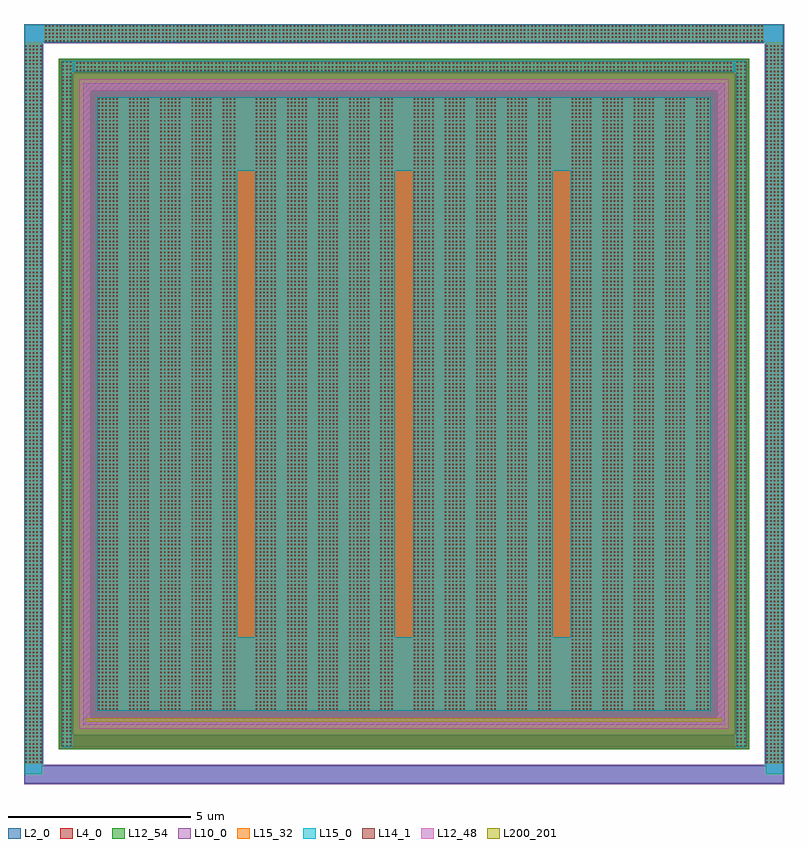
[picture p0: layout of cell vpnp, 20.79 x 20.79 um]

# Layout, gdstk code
import gdstk
lib = gdstk.Library(unit=1e-6, precision=1e-09)
def R(c, l, rs):  # rectangles x0, y0, x1, y1
    for r in rs: c.add(gdstk.rectangle(r[:2], r[2:], *l))
def A(c, l, x, y, w, h, nx, ny, dx, dy):  # array of equal rectangles
    R(c, l, [(x+i*dx, y+j*dy, x+i*dx+w, y+j*dy+h) for i in range(nx) for j in range(ny)])
L2_0 = (2, 0)
L4_0 = (4, 0)
L10_0 = (10, 0)
L12_48 = (12, 48)
L12_54 = (12, 54)
L14_1 = (14, 1)
L15_0 = (15, 0)
L15_32 = (15, 32)
L200_201 = (200, 201)

vpnp = lib.new_cell('vpnp')
R(vpnp, L2_0, [(-16.879,-8.909,3.873,-8.429), (-16.879,-8.429,-16.399,11.363), (3.393,-8.429,3.873,11.363), (-15.899,-7.929,2.893,-7.589), (-15.899,-7.589,-15.559,10.523), (2.553,-7.589,2.893,10.523), (-15.203,-7.233,2.197,10.167), (-15.899,10.523,2.893,10.863), (-16.879,11.363,3.873,11.843)])
R(vpnp, L4_0, [(-15.955,-7.985,2.949,10.919)])
R(vpnp, L10_0, [(-16.9,-8.93,3.894,-8.408), (-16.9,-8.408,-16.378,11.342), (3.372,-8.408,3.894,11.342), (-15.273,-7.303,2.267,10.237), (-16.9,11.342,3.894,11.864)])
R(vpnp, L12_48, [(-15.384,-7.414,2.378,-7.108), (-15.384,-7.108,-15.078,10.042), (2.072,-7.108,2.378,10.042), (-15.384,10.042,2.378,10.348)])
R(vpnp, L12_54, [(-15.955,-7.985,2.949,10.919)])
A(vpnp, L14_1, -16.859, -8.353, 0.04, 0.04, 5, 197, 0.1, 0.1)
A(vpnp, L14_1, 3.413, -8.353, 0.04, 0.04, 5, 197, 0.1, 0.1)
A(vpnp, L14_1, -15.849, -7.903, 0.04, 0.04, 3, 188, 0.1, 0.1)
A(vpnp, L14_1, 2.603, -7.903, 0.04, 0.04, 3, 188, 0.1, 0.1)
A(vpnp, L14_1, -14.873, -6.903, 0.04, 0.04, 6, 168, 0.1, 0.1)
A(vpnp, L14_1, -14.021, -6.903, 0.04, 0.04, 6, 168, 0.1, 0.1)
A(vpnp, L14_1, -13.169, -6.903, 0.04, 0.04, 6, 168, 0.1, 0.1)
A(vpnp, L14_1, -12.317, -6.903, 0.04, 0.04, 6, 168, 0.1, 0.1)
A(vpnp, L14_1, -11.465, -6.903, 0.04, 0.04, 4, 168, 0.1, 0.1)
A(vpnp, L14_1, -10.554, -6.903, 0.04, 0.04, 6, 168, 0.1, 0.1)
A(vpnp, L14_1, -9.702, -6.903, 0.04, 0.04, 6, 168, 0.1, 0.1)
A(vpnp, L14_1, -8.85, -6.903, 0.04, 0.04, 6, 168, 0.1, 0.1)
A(vpnp, L14_1, -7.998, -6.903, 0.04, 0.04, 6, 168, 0.1, 0.1)
A(vpnp, L14_1, -7.146, -6.903, 0.04, 0.04, 4, 168, 0.1, 0.1)
A(vpnp, L14_1, -6.235, -6.903, 0.04, 0.04, 6, 168, 0.1, 0.1)
A(vpnp, L14_1, -5.383, -6.903, 0.04, 0.04, 6, 168, 0.1, 0.1)
A(vpnp, L14_1, -4.531, -6.903, 0.04, 0.04, 6, 168, 0.1, 0.1)
A(vpnp, L14_1, -3.679, -6.903, 0.04, 0.04, 6, 168, 0.1, 0.1)
A(vpnp, L14_1, -2.827, -6.903, 0.04, 0.04, 4, 168, 0.1, 0.1)
A(vpnp, L14_1, -1.916, -6.903, 0.04, 0.04, 6, 168, 0.1, 0.1)
A(vpnp, L14_1, -1.064, -6.903, 0.04, 0.04, 6, 168, 0.1, 0.1)
A(vpnp, L14_1, -0.212, -6.903, 0.04, 0.04, 6, 168, 0.1, 0.1)
A(vpnp, L14_1, 0.64, -6.903, 0.04, 0.04, 6, 168, 0.1, 0.1)
A(vpnp, L14_1, 1.492, -6.903, 0.04, 0.04, 4, 168, 0.1, 0.1)
A(vpnp, L14_1, -15.473, 10.573, 0.04, 0.04, 180, 3, 0.1, 0.1)
A(vpnp, L14_1, -16.323, 11.383, 0.04, 0.04, 197, 5, 0.1, 0.1)
A(vpnp, L15_0, -14.891, -4.921, 3.819, 12.776, 4, 1, 4.319, 0)
R(vpnp, L15_0, [(-16.877,-8.669,-16.401,11.841), (3.395,-8.669,3.871,11.841), (-15.867,-7.921,-15.591,10.855), (2.585,-7.921,2.861,10.855), (-14.891,-6.921,1.885,-4.921), (-14.891,7.855,1.885,9.855), (-15.591,10.555,2.585,10.855), (-16.401,11.365,3.395,11.841)])
R(vpnp, L15_32, [(-16.877,-8.371,-16.401,11.365), (3.395,-8.371,3.871,11.365), (-15.867,-7.921,-15.591,10.855), (2.585,-7.921,2.861,10.855), (-14.891,-6.921,1.885,9.855), (-15.491,10.555,2.485,10.831), (-16.341,11.365,3.335,11.841)])
R(vpnp, L200_201, [(-15.203,-7.233,2.197,-7.133)])

lib.write_gds('vpnp.gds')
